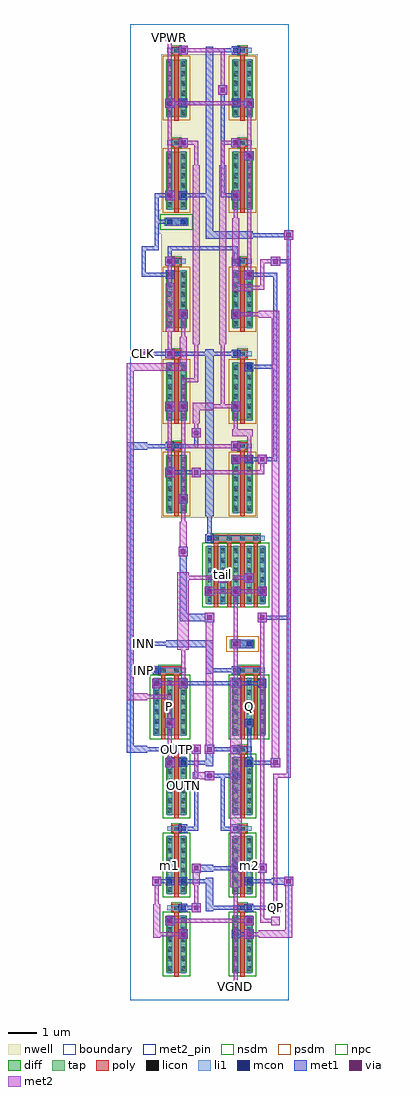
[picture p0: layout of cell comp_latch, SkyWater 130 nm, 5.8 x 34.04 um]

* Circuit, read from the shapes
.subckt comp_latch CLK INN INP OUTN OUTP P Q QN QP VGND VPWR m1 m2 tail
XM1 P INP tail VGND sky130_fd_pr__nfet_01v8 w=2 l=0.15 m=2
XM2 m1 QN VGND VGND sky130_fd_pr__nfet_01v8 w=2 l=0.15
XM3 QP OUTN m1 VGND sky130_fd_pr__nfet_01v8 w=2 l=0.15
XM4 OUTN OUTP P VGND sky130_fd_pr__nfet_01v8 w=2 l=0.15
XM5 tail CLK VGND VGND sky130_fd_pr__nfet_01v8 w=2 l=0.15 m=4
XM6 VGND QP m2 VGND sky130_fd_pr__nfet_01v8 w=2 l=0.15
XM7 m2 OUTP QN VGND sky130_fd_pr__nfet_01v8 w=2 l=0.15
XM8 Q OUTN OUTP VGND sky130_fd_pr__nfet_01v8 w=2 l=0.15
XM9 Q INN tail VGND sky130_fd_pr__nfet_01v8 w=2 l=0.15 m=2
XM10 OUTN OUTP VPWR VPWR sky130_fd_pr__pfet_01v8 w=2 l=0.15
XM11 OUTN CLK VPWR VPWR sky130_fd_pr__pfet_01v8 w=2 l=0.15
XM12 P CLK VPWR VPWR sky130_fd_pr__pfet_01v8 w=2 l=0.15
XM13 QP OUTN VPWR VPWR sky130_fd_pr__pfet_01v8 w=2 l=0.15
XM14 QP QN VPWR VPWR sky130_fd_pr__pfet_01v8 w=2 l=0.15
XM15 VPWR OUTN OUTP VPWR sky130_fd_pr__pfet_01v8 w=2 l=0.15
XM16 VPWR CLK OUTP VPWR sky130_fd_pr__pfet_01v8 w=2 l=0.15
XM17 VPWR CLK Q VPWR sky130_fd_pr__pfet_01v8 w=2 l=0.15
XM18 VPWR OUTP QN VPWR sky130_fd_pr__pfet_01v8 w=2 l=0.15
XM19 VPWR QP QN VPWR sky130_fd_pr__pfet_01v8 w=2 l=0.15
.ends

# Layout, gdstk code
import gdstk
lib = gdstk.Library(unit=1e-6, precision=1e-09)
def R(c, l, rs):  # rectangles x0, y0, x1, y1
    for r in rs: c.add(gdstk.rectangle(r[:2], r[2:], *l))
def A(c, l, x, y, w, h, nx, ny, dx, dy):  # array of equal rectangles
    R(c, l, [(x+i*dx, y+j*dy, x+i*dx+w, y+j*dy+h) for i in range(nx) for j in range(ny)])
nwell = (64, 20)
diff = (65, 20)
tap = (65, 44)
poly = (66, 20)
licon = (66, 44)
li1 = (67, 20)
mcon = (67, 44)
met1 = (68, 20)
via = (68, 44)
met2_pin = (69, 16)
met2 = (69, 20)
nsdm = (93, 44)
psdm = (94, 20)
npc = (95, 20)
boundary = (235, 4)

comp_latch = lib.new_cell('comp_latch')
R(comp_latch, nwell, [(1.075,16.82,4.445,26.72), (0.995,26.72,4.445,27.56), (1.075,27.56,4.445,32.98)])
A(comp_latch, diff, 1.255, 0.945, 0.71, 2, 1, 3, 0, 2.76)
A(comp_latch, diff, 3.555, 0.945, 0.71, 2, 1, 3, 0, 2.76)
A(comp_latch, diff, 1.255, 17, 0.71, 2, 1, 3, 0, 3.22)
A(comp_latch, diff, 3.555, 17, 0.71, 2, 1, 3, 0, 3.22)
R(comp_latch, diff, [(0.795,9.225,1.965,11.225), (3.555,9.225,4.725,11.225), (2.635,13.825,4.725,15.825), (1.255,27.58,1.965,29.58), (3.555,27.58,4.265,29.58), (1.255,30.8,1.965,32.8), (3.555,30.8,4.265,32.8)])
R(comp_latch, tap, [(3.475,12.275,4.345,12.565), (1.175,26.995,2.045,27.285)])
A(comp_latch, poly, 1.535, 0.815, 0.15, 2.405, 1, 4, 0, 2.76)
A(comp_latch, poly, 3.835, 0.815, 0.15, 2.405, 1, 4, 0, 2.76)
A(comp_latch, poly, 1.445, 3.085, 0.33, 0.27, 1, 3, 0, 2.76)
A(comp_latch, poly, 3.745, 3.085, 0.33, 0.27, 1, 3, 0, 2.76)
A(comp_latch, poly, 2.915, 13.695, 0.15, 2.405, 4, 1, 0.46, 0)
A(comp_latch, poly, 1.535, 16.87, 0.15, 2.45, 1, 3, 0, 3.22)
A(comp_latch, poly, 3.835, 16.87, 0.15, 2.45, 1, 3, 0, 3.22)
A(comp_latch, poly, 1.445, 19.185, 0.33, 0.27, 1, 3, 0, 3.22)
A(comp_latch, poly, 3.745, 19.185, 0.33, 0.27, 1, 3, 0, 3.22)
R(comp_latch, poly, [(1.075,9.095,1.225,11.5), (4.295,9.095,4.445,11.5), (0.985,11.365,1.775,11.635), (3.745,11.365,4.535,11.635), (2.825,15.965,4.535,16.235), (1.535,27.45,1.685,29.9), (3.835,27.45,3.985,29.9), (1.445,29.765,1.775,30.035), (3.745,29.765,4.075,30.035), (1.535,30.67,1.685,33.12), (3.835,30.67,3.985,33.12), (1.445,32.985,1.775,33.255), (3.745,32.985,4.075,33.255)])
A(comp_latch, licon, 1.295, 1.01, 0.17, 0.17, 1, 6, 0, 0.34)
A(comp_latch, licon, 1.755, 1.01, 0.17, 0.17, 1, 6, 0, 0.34)
A(comp_latch, licon, 3.595, 1.01, 0.17, 0.17, 1, 6, 0, 0.34)
A(comp_latch, licon, 4.055, 1.01, 0.17, 0.17, 1, 6, 0, 0.34)
A(comp_latch, licon, 1.525, 3.135, 0.17, 0.17, 1, 4, 0, 2.76)
A(comp_latch, licon, 3.825, 3.135, 0.17, 0.17, 1, 4, 0, 2.76)
A(comp_latch, licon, 1.295, 3.77, 0.17, 0.17, 1, 6, 0, 0.34)
A(comp_latch, licon, 1.755, 3.77, 0.17, 0.17, 1, 6, 0, 0.34)
A(comp_latch, licon, 3.595, 3.77, 0.17, 0.17, 1, 6, 0, 0.34)
A(comp_latch, licon, 4.055, 3.77, 0.17, 0.17, 1, 6, 0, 0.34)
A(comp_latch, licon, 1.295, 6.53, 0.17, 0.17, 1, 6, 0, 0.34)
A(comp_latch, licon, 1.755, 6.53, 0.17, 0.17, 1, 6, 0, 0.34)
A(comp_latch, licon, 3.595, 6.53, 0.17, 0.17, 1, 6, 0, 0.34)
A(comp_latch, licon, 4.055, 6.53, 0.17, 0.17, 1, 6, 0, 0.34)
A(comp_latch, licon, 0.835, 9.29, 0.17, 0.17, 3, 6, 0.46, 0.34)
A(comp_latch, licon, 3.595, 9.29, 0.17, 0.17, 3, 6, 0.46, 0.34)
A(comp_latch, licon, 2.675, 13.89, 0.17, 0.17, 5, 6, 0.46, 0.34)
A(comp_latch, licon, 2.905, 16.015, 0.17, 0.17, 4, 1, 0.46, 0)
A(comp_latch, licon, 1.295, 17.065, 0.17, 0.17, 1, 6, 0, 0.34)
A(comp_latch, licon, 1.755, 17.065, 0.17, 0.17, 1, 6, 0, 0.34)
A(comp_latch, licon, 3.595, 17.065, 0.17, 0.17, 1, 6, 0, 0.34)
A(comp_latch, licon, 4.055, 17.065, 0.17, 0.17, 1, 6, 0, 0.34)
A(comp_latch, licon, 1.525, 19.235, 0.17, 0.17, 1, 3, 0, 3.22)
A(comp_latch, licon, 3.825, 19.235, 0.17, 0.17, 1, 3, 0, 3.22)
A(comp_latch, licon, 1.295, 20.285, 0.17, 0.17, 1, 6, 0, 0.34)
A(comp_latch, licon, 1.755, 20.285, 0.17, 0.17, 1, 6, 0, 0.34)
A(comp_latch, licon, 3.595, 20.285, 0.17, 0.17, 1, 6, 0, 0.34)
A(comp_latch, licon, 4.055, 20.285, 0.17, 0.17, 1, 6, 0, 0.34)
A(comp_latch, licon, 1.295, 23.505, 0.17, 0.17, 1, 6, 0, 0.34)
A(comp_latch, licon, 1.755, 23.505, 0.17, 0.17, 1, 6, 0, 0.34)
A(comp_latch, licon, 3.595, 23.505, 0.17, 0.17, 1, 6, 0, 0.34)
A(comp_latch, licon, 4.055, 23.505, 0.17, 0.17, 1, 6, 0, 0.34)
A(comp_latch, licon, 1.295, 27.645, 0.17, 0.17, 1, 6, 0, 0.34)
A(comp_latch, licon, 1.755, 27.645, 0.17, 0.17, 1, 6, 0, 0.34)
A(comp_latch, licon, 3.595, 27.645, 0.17, 0.17, 1, 6, 0, 0.34)
A(comp_latch, licon, 4.055, 27.645, 0.17, 0.17, 1, 6, 0, 0.34)
A(comp_latch, licon, 1.295, 30.865, 0.17, 0.17, 1, 6, 0, 0.34)
A(comp_latch, licon, 1.755, 30.865, 0.17, 0.17, 1, 6, 0, 0.34)
A(comp_latch, licon, 3.595, 30.865, 0.17, 0.17, 1, 6, 0, 0.34)
A(comp_latch, licon, 4.055, 30.865, 0.17, 0.17, 1, 6, 0, 0.34)
R(comp_latch, licon, [(1.065,11.415,1.235,11.585), (4.285,11.415,4.455,11.585), (3.595,12.335,3.765,12.505), (4.055,12.335,4.225,12.505), (1.295,27.055,1.465,27.225), (1.755,27.055,1.925,27.225), (1.525,29.815,1.695,29.985), (3.825,29.815,3.995,29.985), (1.525,33.035,1.695,33.205), (3.825,33.035,3.995,33.205)])
A(comp_latch, li1, 1.295, 0.93, 0.17, 2.03, 1, 3, 0, 2.76)
A(comp_latch, li1, 1.755, 0.93, 0.17, 2.03, 1, 3, 0, 2.76)
A(comp_latch, li1, 3.595, 0.93, 0.17, 2.03, 1, 3, 0, 2.76)
A(comp_latch, li1, 4.055, 0.93, 0.17, 2.03, 1, 3, 0, 2.76)
A(comp_latch, li1, 1.295, 3.135, 0.63, 0.17, 1, 3, 0, 2.76)
A(comp_latch, li1, 3.595, 3.135, 0.63, 0.17, 1, 3, 0, 2.76)
A(comp_latch, li1, 0.835, 9.21, 0.17, 2.03, 3, 1, 0.46, 0)
A(comp_latch, li1, 3.595, 9.21, 0.17, 2.03, 3, 1, 0.46, 0)
A(comp_latch, li1, 2.675, 13.81, 0.17, 2.03, 5, 1, 0.46, 0)
A(comp_latch, li1, 1.295, 16.985, 0.17, 2.03, 1, 3, 0, 3.22)
A(comp_latch, li1, 1.755, 16.985, 0.17, 2.03, 1, 3, 0, 3.22)
A(comp_latch, li1, 3.595, 16.985, 0.17, 2.03, 1, 3, 0, 3.22)
A(comp_latch, li1, 4.055, 16.985, 0.17, 2.03, 1, 3, 0, 3.22)
A(comp_latch, li1, 1.295, 19.235, 0.63, 0.17, 1, 3, 0, 3.22)
A(comp_latch, li1, 3.595, 19.235, 0.63, 0.17, 1, 3, 0, 3.22)
R(comp_latch, li1, [(0.835,11.415,1.925,11.585), (3.595,11.415,4.685,11.585), (3.515,12.335,4.305,12.505), (2.675,16.015,4.685,16.185), (1.215,27.055,2.005,27.225), (1.295,27.565,1.465,29.595), (1.755,27.565,1.925,29.595), (3.595,27.565,3.765,29.595), (4.055,27.565,4.225,29.595), (1.295,29.815,1.925,29.985), (3.595,29.815,4.225,29.985), (1.295,30.785,1.465,32.815), (1.755,30.785,1.925,32.815), (3.595,30.785,3.765,32.815), (4.055,30.785,4.225,32.815), (1.295,33.035,1.925,33.205), (3.595,33.035,4.225,33.205)])
A(comp_latch, mcon, 1.755, 2.215, 0.17, 0.17, 1, 3, 0, 0.92)
A(comp_latch, mcon, 2.675, 14.175, 0.17, 0.17, 3, 1, 0.92, 0)
A(comp_latch, mcon, 1.755, 17.395, 0.17, 0.17, 1, 4, 0, 3.22)
A(comp_latch, mcon, 4.055, 18.775, 0.17, 0.17, 1, 3, 0, 3.22)
R(comp_latch, mcon, [(3.595,2.215,3.765,2.385), (1.295,2.675,1.465,2.845), (4.055,2.675,4.225,2.845), (4.055,3.135,4.225,3.305), (1.295,4.055,1.465,4.225), (4.055,4.055,4.225,4.225), (3.595,4.515,3.765,4.685), (1.755,5.895,1.925,6.065), (3.595,5.895,3.765,6.065), (3.595,7.735,3.765,7.905), (1.295,8.195,1.465,8.365), (1.755,8.195,1.925,8.365), (4.055,8.195,4.225,8.365), (1.755,8.655,1.925,8.825), (3.595,8.655,3.765,8.825), (1.295,9.575,1.465,9.745), (4.055,9.575,4.225,9.745), (0.835,10.955,1.005,11.125), (1.755,10.955,1.925,11.125), (3.595,10.955,3.765,11.125), (4.515,10.955,4.685,11.125), (0.835,11.415,1.005,11.585), (3.595,11.415,3.765,11.585), (3.595,12.335,3.765,12.505), (4.055,12.335,4.225,12.505), (3.135,14.635,3.305,14.805), (4.055,14.635,4.225,14.805), (2.675,16.015,2.845,16.185), (1.295,18.315,1.465,18.485), (3.595,18.775,3.765,18.945), (1.295,19.235,1.465,19.405), (3.595,19.235,3.765,19.405), (1.295,20.615,1.465,20.785), (3.595,20.615,3.765,20.785), (1.295,22.455,1.465,22.625), (3.595,22.455,3.765,22.625), (3.595,23.835,3.765,24.005), (1.295,25.215,1.465,25.385), (1.295,25.675,1.465,25.845), (3.595,25.675,3.765,25.845), (1.295,27.055,1.465,27.225), (1.295,27.975,1.465,28.145), (1.755,27.975,1.925,28.145), (3.595,27.975,3.765,28.145), (4.055,29.355,4.225,29.525), (1.755,29.815,1.925,29.985), (3.595,29.815,3.765,29.985), (1.295,31.195,1.465,31.365), (1.755,31.195,1.925,31.365), (3.595,31.195,3.765,31.365), (4.055,31.195,4.225,31.365), (1.755,33.035,1.925,33.205), (3.595,33.035,3.765,33.205)])
A(comp_latch, met1, 1.695, 2.155, 0.29, 0.29, 1, 3, 0, 0.92)
A(comp_latch, met1, 1.77, 3.15, 0.6, 0.14, 1, 3, 0, 2.76)
A(comp_latch, met1, 2.6, 14.1, 0.32, 0.32, 3, 1, 0.92, 0)
A(comp_latch, met1, 2.615, 14.115, 0.29, 0.29, 3, 1, 0.92, 0)
A(comp_latch, met1, 1.68, 17.32, 0.32, 0.32, 1, 3, 0, 3.22)
A(comp_latch, met1, 1.695, 17.335, 0.29, 0.29, 1, 3, 0, 3.22)
A(comp_latch, met1, 3.995, 18.715, 0.29, 0.29, 1, 3, 0, 3.22)
A(comp_latch, met1, 4.07, 18.79, 1.06, 0.14, 1, 3, 0, 3.22)
R(comp_latch, met1, [(1.68,2.14,2,2.46), (3.98,2.14,4.3,2.46), (3.535,2.155,3.825,2.445), (3.61,2.23,4.21,2.37), (1.22,2.6,1.54,2.92), (3.98,2.6,4.3,2.92), (1.235,2.615,1.525,2.905), (3.995,2.615,4.285,2.905), (2.14,3.06,2.46,3.38), (4.9,3.06,5.22,3.38), (3.995,3.075,4.285,3.365), (2.635,3.095,2.885,4.265), (2.69,3.15,4.21,3.29), (4.07,3.15,5.13,3.29), (0.76,3.98,1.08,4.3), (5.36,3.98,5.68,4.3), (1.235,3.995,1.525,4.285), (3.995,3.995,4.285,4.285), (4.935,4.015,5.645,4.265), (0.85,4.07,1.45,4.21), (1.77,4.07,2.83,4.21), (4.07,4.07,5.13,4.21), (2.14,4.44,2.46,4.76), (4.44,4.44,4.76,4.76), (3.535,4.455,3.825,4.745), (2.175,4.475,2.885,4.725), (2.69,4.53,3.75,4.67), (3.61,4.53,4.67,4.67), (1.695,5.835,1.985,6.125), (3.535,5.835,3.825,6.125), (2.23,5.91,2.37,8.35), (3.15,5.91,3.75,6.05), (3.15,5.91,3.29,7.89), (2.6,7.66,2.92,7.98), (3.535,7.675,3.825,7.965), (2.69,7.75,3.75,7.89), (1.22,8.12,1.54,8.44), (4.9,8.12,5.22,8.44), (1.235,8.135,1.525,8.425), (1.695,8.135,1.985,8.425), (3.995,8.135,4.285,8.425), (2.635,8.155,2.885,8.865), (1.77,8.21,2.83,8.35), (4.07,8.21,5.13,8.35), (4.07,8.21,4.21,9.73), (2.14,8.58,2.46,8.9), (2.6,8.58,2.92,8.9), (1.695,8.595,1.985,8.885), (3.535,8.595,3.825,8.885), (-0.125,8.615,0.125,19.445), (-0.125,8.615,0.585,8.865), (0.39,8.67,1.91,8.81), (2.69,8.67,3.75,8.81), (1.22,9.5,1.54,9.82), (1.235,9.515,1.525,9.805), (3.995,9.515,4.285,9.805), (0.76,10.88,1.08,11.2), (1.68,10.88,2,11.2), (0.775,10.895,1.065,11.185), (1.695,10.895,1.985,11.185), (3.535,10.895,3.825,11.185), (4.455,10.895,4.745,11.185), (1.77,10.97,3.75,11.11), (3.61,10.97,4.67,11.11), (0.3,11.34,0.62,11.66), (0.775,11.355,1.065,11.645), (3.535,11.355,3.825,11.645), (2.635,11.375,2.885,12.545), (0.39,11.43,0.99,11.57), (2.69,11.43,3.75,11.57), (0.3,12.26,0.62,12.58), (3.52,12.26,3.84,12.58), (3.535,12.275,4.285,12.565), (1.255,12.295,2.885,12.545), (0.39,12.35,1.45,12.49), (3.61,12.35,3.75,12.49), (2.6,13.18,2.92,13.5), (4.44,13.18,4.76,13.5), (1.715,13.215,2.885,13.465), (1.715,13.215,1.965,15.765), (4.53,13.27,5.59,13.41), (5.45,13.27,5.59,25.83), (3.06,14.56,3.38,14.88), (3.98,14.56,4.3,14.88), (3.075,14.575,3.365,14.865), (3.995,14.575,4.285,14.865), (1.68,15.48,2,15.8), (2.615,15.955,2.905,16.245), (2.69,16.03,2.83,17.09), (2.61,16.87,2.91,22.69), (1.22,18.24,1.54,18.56), (2.14,18.24,2.46,18.56), (1.235,18.255,1.525,18.545), (1.31,18.33,2.37,18.47), (3.52,18.7,3.84,19.02), (4.44,18.7,4.76,19.02), (3.535,18.715,3.825,19.005), (4.99,18.79,5.13,22.15), (3.52,19.16,3.84,19.48), (1.235,19.175,1.525,19.465), (3.535,19.175,3.825,19.465), (-0.125,19.195,0.585,19.445), (0.39,19.25,1.45,19.39), (1.31,19.25,2.37,19.39), (2.23,19.25,2.37,19.85), (2.14,19.62,2.46,19.94), (1.22,20.54,1.54,20.86), (3.52,20.54,3.84,20.86), (1.235,20.555,1.525,20.845), (3.535,20.555,3.825,20.845), (4.99,22.01,5.13,25.37), (0.3,22.38,0.62,22.7), (1.22,22.38,1.54,22.7), (1.235,22.395,1.525,22.685), (3.535,22.395,3.825,22.685), (0.39,22.47,1.45,22.61), (1.31,22.47,3.75,22.61), (3.52,23.76,3.84,24.08), (3.535,23.775,3.825,24.065), (3.98,25.14,4.3,25.46), (1.235,25.155,1.525,25.445), (0.39,25.23,1.45,25.37), (0.39,25.23,0.53,26.29), (1.22,25.6,1.54,25.92), (4.9,25.6,5.22,25.92), (1.235,25.615,1.525,25.905), (3.535,25.615,3.825,25.905), (1.31,25.69,1.45,26.29), (3.61,25.69,3.75,26.29), (4.99,25.69,5.59,25.83), (0.39,26.15,0.99,26.29), (0.85,26.15,0.99,27.21), (1.31,26.15,3.75,26.29), (5.36,26.52,5.68,26.84), (2.635,26.555,4.265,26.805), (2.635,26.555,2.885,28.185), (4.07,26.61,5.59,26.75), (1.235,26.995,1.985,27.285), (0.85,27.07,1.45,27.21), (0.85,27.07,0.99,28.13), (1.31,27.07,1.45,27.21), (1.22,27.9,1.54,28.22), (3.52,27.9,3.84,28.22), (1.235,27.915,1.525,28.205), (1.695,27.915,1.985,28.205), (3.535,27.915,3.825,28.205), (2.635,27.935,2.885,31.405), (0.85,27.99,1.45,28.13), (1.77,27.99,2.83,28.13), (3.15,27.99,3.75,28.13), (3.15,27.99,3.29,31.35), (3.98,29.28,4.3,29.6), (3.995,29.295,4.285,29.585), (1.68,29.74,2,30.06), (3.52,29.74,3.84,30.06), (1.695,29.755,1.985,30.045), (3.535,29.755,3.825,30.045), (1.22,31.12,1.54,31.44), (3.98,31.12,4.3,31.44), (1.235,31.135,1.525,31.425), (1.695,31.135,1.985,31.425), (3.535,31.135,3.825,31.425), (3.995,31.135,4.285,31.425), (2.635,31.155,2.885,33.245), (1.77,31.21,2.83,31.35), (3.15,31.21,3.29,31.81), (3.15,31.21,3.75,31.35), (3.06,31.58,3.38,31.9), (1.68,32.96,2,33.28), (1.695,32.975,1.985,33.265), (3.535,32.975,3.825,33.265), (2.69,33.05,3.75,33.19)])
A(comp_latch, via, 2.685, 14.185, 0.15, 0.15, 3, 1, 0.92, 0)
A(comp_latch, via, 1.765, 17.405, 0.15, 0.15, 1, 3, 0, 3.22)
R(comp_latch, via, [(1.765,2.225,1.915,2.375), (4.065,2.225,4.215,2.375), (1.305,2.685,1.455,2.835), (4.065,2.685,4.215,2.835), (2.225,3.145,2.375,3.295), (4.985,3.145,5.135,3.295), (0.845,4.065,0.995,4.215), (5.445,4.065,5.595,4.215), (2.225,4.525,2.375,4.675), (4.525,4.525,4.675,4.675), (2.685,7.745,2.835,7.895), (1.305,8.205,1.455,8.355), (4.985,8.205,5.135,8.355), (2.225,8.665,2.375,8.815), (2.685,8.665,2.835,8.815), (1.305,9.585,1.455,9.735), (0.845,10.965,0.995,11.115), (1.765,10.965,1.915,11.115), (0.385,11.425,0.535,11.575), (0.385,12.345,0.535,12.495), (3.605,12.345,3.755,12.495), (2.685,13.265,2.835,13.415), (4.525,13.265,4.675,13.415), (3.145,14.645,3.295,14.795), (4.065,14.645,4.215,14.795), (1.765,15.565,1.915,15.715), (1.305,18.325,1.455,18.475), (2.225,18.325,2.375,18.475), (3.605,18.785,3.755,18.935), (4.525,18.785,4.675,18.935), (3.605,19.245,3.755,19.395), (2.225,19.705,2.375,19.855), (1.305,20.625,1.455,20.775), (3.605,20.625,3.755,20.775), (0.385,22.465,0.535,22.615), (1.305,22.465,1.455,22.615), (3.605,23.845,3.755,23.995), (4.065,25.225,4.215,25.375), (1.305,25.685,1.455,25.835), (4.985,25.685,5.135,25.835), (5.445,26.605,5.595,26.755), (1.305,27.985,1.455,28.135), (3.605,27.985,3.755,28.135), (4.065,29.365,4.215,29.515), (1.765,29.825,1.915,29.975), (3.605,29.825,3.755,29.975), (1.305,31.205,1.455,31.355), (4.065,31.205,4.215,31.355), (3.145,31.665,3.295,31.815), (1.765,33.045,1.915,33.195)])
R(comp_latch, met2_pin, [(3.53,0.31,3.83,0.61), (4.91,2.61,5.21,2.91), (4.91,3.07,5.21,3.37), (0.31,11.35,0.61,11.65), (0.31,12.27,0.61,12.57), (0.31,22.39,0.61,22.69), (1.23,33.43,1.53,33.73)])
A(comp_latch, met2, 2.6, 14.1, 0.32, 0.32, 3, 1, 0.92, 0)
A(comp_latch, met2, 1.68, 17.32, 0.32, 0.32, 1, 3, 0, 3.22)
R(comp_latch, met2, [(3.53,0.31,3.83,0.61), (3.61,0.39,3.75,0.53), (3.61,0.39,3.75,2.83), (1.68,2.14,2,2.46), (3.98,2.14,4.3,2.46), (0.795,2.175,1.045,3.345), (4.475,2.175,5.645,2.425), (5.395,2.175,5.645,4.265), (0.85,2.23,1.91,2.37), (4.07,2.23,4.67,2.37), (1.22,2.6,1.54,2.92), (3.98,2.6,4.3,2.92), (4.91,2.61,5.21,2.91), (1.31,2.69,3.75,2.83), (3.61,2.69,4.21,2.83), (3.61,2.69,3.75,4.21), (4.53,2.69,5.13,2.83), (4.53,2.69,4.67,4.67), (4.99,2.69,5.13,2.83), (2.14,3.06,2.46,3.38), (4.9,3.06,5.22,3.38), (4.91,3.07,5.21,3.37), (0.85,3.15,0.99,4.21), (2.23,3.15,2.37,4.21), (4.99,3.15,5.13,3.29), (4.99,3.15,5.13,7.89), (3.48,3.94,3.88,11.24), (0.76,3.98,1.08,4.3), (5.36,3.98,5.68,4.3), (2.175,4.015,2.425,4.725), (2.14,4.44,2.46,4.76), (4.44,4.44,4.76,4.76), (4.53,4.53,4.67,13.41), (2.6,7.66,2.92,7.98), (2.175,7.695,2.885,7.945), (2.23,7.75,2.37,8.81), (4.99,7.75,5.59,7.89), (5.45,7.75,5.59,26.75), (1.22,8.12,1.54,8.44), (4.9,8.12,5.22,8.44), (4.935,8.155,5.185,24.045), (1.31,8.21,1.45,9.73), (2.14,8.58,2.46,8.9), (2.6,8.58,2.92,8.9), (2.635,8.615,2.885,13.465), (1.22,9.5,1.54,9.82), (1.31,9.59,1.45,10.65), (-0.125,10.455,0.125,22.205), (-0.125,10.455,0.585,10.705), (0.39,10.51,1.45,10.65), (0.76,10.88,1.08,11.2), (1.68,10.88,2,11.2), (0.85,10.97,1.91,11.11), (1.77,10.97,1.91,12.49), (3.61,10.97,3.75,12.49), (0.3,11.34,0.62,11.66), (0.31,11.35,0.61,11.65), (0.39,11.43,0.53,11.57), (1.64,12.22,2.04,14.92), (0.3,12.26,0.62,12.58), (3.52,12.26,3.84,12.58), (0.31,12.27,0.61,12.57), (0.39,12.35,0.53,12.49), (3.61,12.35,3.75,14.33), (2.6,13.18,2.92,13.5), (4.44,13.18,4.76,13.5), (2.69,14.19,3.75,14.33), (3.61,14.19,4.67,14.33), (3.06,14.56,3.38,14.88), (3.98,14.56,4.3,14.88), (1.77,14.65,3.29,14.79), (3.15,14.65,4.21,14.79), (1.68,15.48,2,15.8), (1.715,15.515,1.965,16.685), (1.77,16.49,1.91,17.55), (1.77,17.41,1.91,20.77), (1.22,18.24,1.54,18.56), (2.14,18.24,2.46,18.56), (1.31,18.33,1.45,20.77), (2.23,18.33,4.67,18.47), (4.53,18.33,4.67,18.93), (3.52,18.7,3.84,19.02), (4.44,18.7,4.76,19.02), (3.61,18.79,4.21,18.93), (4.07,18.79,4.21,19.85), (3.52,19.16,3.84,19.48), (1.77,19.25,3.75,19.39), (2.14,19.62,2.46,19.94), (3.555,19.655,4.265,19.905), (2.23,19.71,2.37,20.31), (3.61,19.71,3.75,20.77), (2.175,20.115,2.425,20.825), (1.22,20.54,1.54,20.86), (3.52,20.54,3.84,20.86), (2.175,20.575,2.885,20.825), (1.77,20.63,1.91,21.69), (2.69,20.63,3.75,20.77), (3.15,20.63,3.29,23.07), (1.77,21.55,2.37,21.69), (2.23,21.55,2.37,23.07), (-0.125,21.955,1.965,22.205), (1.715,21.955,1.965,23.125), (0.3,22.38,0.62,22.7), (1.22,22.38,1.54,22.7), (0.31,22.39,0.61,22.69), (0.39,22.47,0.53,22.61), (1.31,22.47,1.45,23.53), (2.175,22.875,2.425,29.105), (3.095,22.875,3.345,29.105), (1.77,22.93,1.91,23.99), (1.23,23.31,1.53,24.99), (3.52,23.76,3.84,24.08), (4.475,23.795,5.185,24.045), (3.61,23.85,4.67,23.99), (3.555,24.715,4.265,24.965), (3.555,24.715,3.805,27.265), (1.31,24.77,1.45,25.83), (4.07,24.77,4.67,24.91), (4.53,24.77,4.67,25.83), (3.98,25.14,4.3,25.46), (4.07,25.23,4.21,29.51), (1.22,25.6,1.54,25.92), (4.9,25.6,5.22,25.92), (4.53,25.69,5.13,25.83), (5.36,26.52,5.68,26.84), (3.61,27.07,3.75,28.13), (1.22,27.9,1.54,28.22), (3.52,27.9,3.84,28.22), (1.31,27.99,1.45,31.35), (2.23,28.91,2.37,29.97), (3.15,28.91,3.29,29.97), (3.98,29.28,4.3,29.6), (4.07,29.37,4.21,31.35), (1.68,29.74,2,30.06), (3.52,29.74,3.84,30.06), (1.77,29.83,2.37,29.97), (3.15,29.83,3.75,29.97), (1.22,31.12,1.54,31.44), (3.98,31.12,4.3,31.44), (1.31,31.21,1.45,33.65), (1.31,31.21,4.21,31.35), (3.06,31.58,3.38,31.9), (3.15,31.67,3.29,33.19), (1.68,32.96,2,33.28), (1.77,33.05,3.29,33.19), (1.23,33.43,1.53,33.73), (1.31,33.51,1.45,33.65)])
A(comp_latch, nsdm, 1.13, 0.82, 0.96, 2.25, 1, 3, 0, 2.76)
A(comp_latch, nsdm, 3.43, 0.82, 0.96, 2.25, 1, 3, 0, 2.76)
R(comp_latch, nsdm, [(0.67,9.1,2.09,11.35), (3.43,9.1,4.85,11.35), (2.51,13.7,4.85,15.95), (1.05,26.87,2.17,27.41)])
A(comp_latch, psdm, 1.13, 16.875, 0.96, 2.25, 1, 3, 0, 3.22)
A(comp_latch, psdm, 3.43, 16.875, 0.96, 2.25, 1, 3, 0, 3.22)
R(comp_latch, psdm, [(3.35,12.15,4.47,12.69), (1.13,27.455,2.09,29.705), (3.43,27.455,4.39,29.705), (1.13,30.675,2.09,32.925), (3.43,30.675,4.39,32.925)])
A(comp_latch, npc, 1.425, 3.035, 0.37, 0.37, 1, 3, 0, 2.76)
A(comp_latch, npc, 3.725, 3.035, 0.37, 0.37, 1, 3, 0, 2.76)
A(comp_latch, npc, 1.425, 19.135, 0.37, 0.37, 1, 3, 0, 3.22)
A(comp_latch, npc, 3.725, 19.135, 0.37, 0.37, 1, 3, 0, 3.22)
R(comp_latch, npc, [(0.965,11.315,1.795,11.685), (3.725,11.315,4.555,11.685), (2.805,15.915,4.555,16.285), (1.425,29.715,1.795,30.085), (3.725,29.715,4.095,30.085), (1.425,32.935,1.795,33.305), (3.725,32.935,4.095,33.305)])
R(comp_latch, boundary, [(0,0,5.52,34.04)])
comp_latch.add(gdstk.Label('tail', (3.22,14.825), layer=67, texttype=5))
comp_latch.add(gdstk.Label('P', (1.38,10.225), layer=67, texttype=5))
comp_latch.add(gdstk.Label('Q', (4.14,10.225), layer=67, texttype=5))
comp_latch.add(gdstk.Label('OUTP', (1.61,8.74), layer=67, texttype=5))
comp_latch.add(gdstk.Label('OUTN', (1.84,7.465), layer=67, texttype=5))
comp_latch.add(gdstk.Label('m1', (1.38,4.705), layer=67, texttype=5))
comp_latch.add(gdstk.Label('m2', (4.14,4.705), layer=67, texttype=5))
comp_latch.add(gdstk.Label('CLK', (0.46,22.54), layer=69, texttype=5))
comp_latch.add(gdstk.Label('INP', (0.46,11.5), layer=69, texttype=5))
comp_latch.add(gdstk.Label('INN', (0.46,12.42), layer=69, texttype=5))
comp_latch.add(gdstk.Label('QP', (5.06,3.22), layer=69, texttype=5))
comp_latch.add(gdstk.Label('QN', (5.06,2.76), layer=69, texttype=5))
comp_latch.add(gdstk.Label('VPWR', (1.38,33.58), layer=69, texttype=5))
comp_latch.add(gdstk.Label('VGND', (3.68,0.46), layer=69, texttype=5))
comp_latch.add(gdstk.Label('CLK', (0.46,22.54), layer=69, texttype=16))
comp_latch.add(gdstk.Label('INP', (0.46,11.5), layer=69, texttype=16))
comp_latch.add(gdstk.Label('INN', (0.46,12.42), layer=69, texttype=16))
comp_latch.add(gdstk.Label('QP', (5.06,3.22), layer=69, texttype=16))
comp_latch.add(gdstk.Label('QN', (5.06,2.76), layer=69, texttype=16))
comp_latch.add(gdstk.Label('VPWR', (1.38,33.58), layer=69, texttype=16))
comp_latch.add(gdstk.Label('VGND', (3.68,0.46), layer=69, texttype=16))

lib.write_gds('comp_latch.gds')
